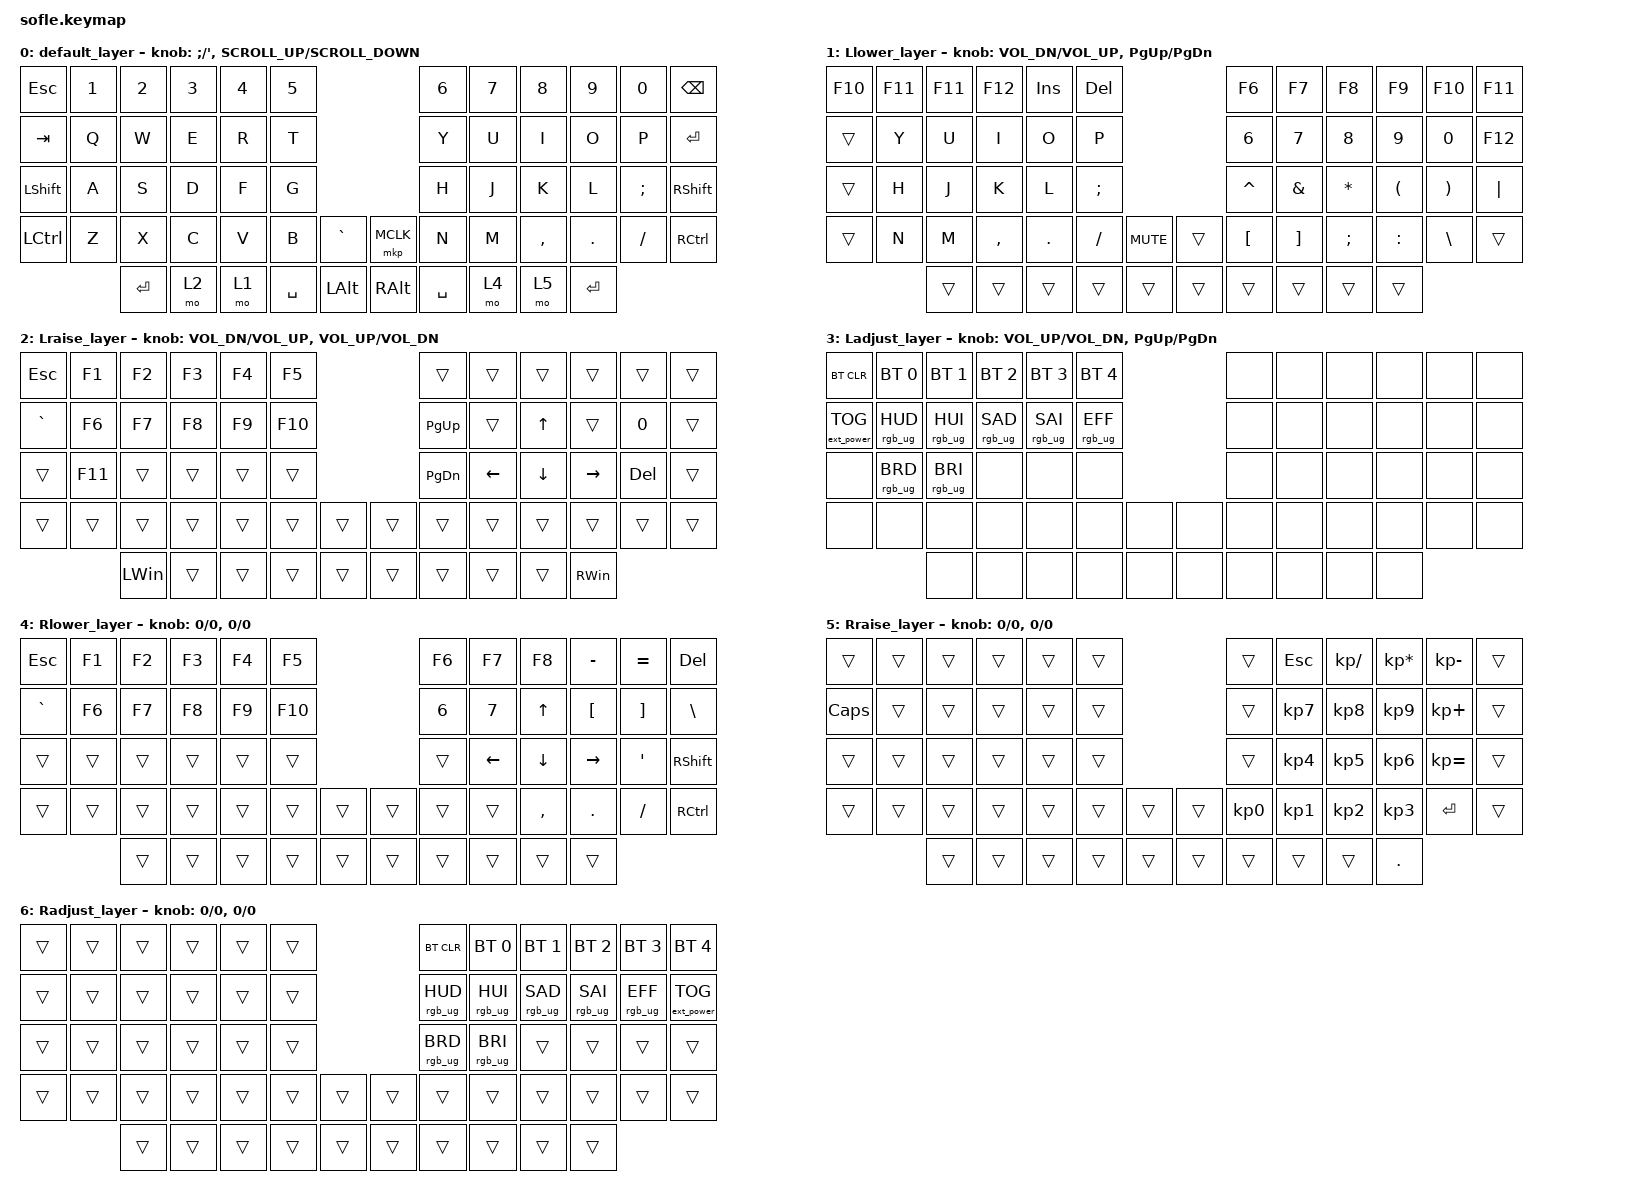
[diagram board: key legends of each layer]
/*
 * Copyright (c) 2020 The ZMK Contributors
 *
 * SPDX-License-Identifier: MIT
 */

#include <dt-bindings/zmk/mouse.h>
#include <behaviors.dtsi>
#include <dt-bindings/zmk/bt.h>
#include <dt-bindings/zmk/ext_power.h>
#include <dt-bindings/zmk/keys.h>
#include <dt-bindings/zmk/pointing.h>
#include <dt-bindings/zmk/rgb.h>

#define BASE 0
#define LLOWER 1
#define LRAISE 2
#define LADJUST 3

/ {
    // Activate ADJUST layer by pressing raise and lower

    conditional_layers {
        compatible = "zmk,conditional-layers";

        ladjust_layer {
            if-layers = <1 2>;
            then-layer = <3>;
        };

        Radjust {
            if-layers = <4 5>;
            then-layer = <6>;
        };
    };

    keymap {
        compatible = "zmk,keymap";

        default_layer {
            // ------------------------------------------------------------------------------------------------------------
            // |  ESC  |  1  |  2  |  3   |  4   |  5   |                   |  6   |  7    |  8    |  9   |   0   |       |
            // |  ESC  |  Q  |  W  |  E   |  R   |  T   |                   |  Y   |  U    |  I    |  O   |   P   | BKSPC |
            // |  TAB  |  A  |  S  |  D   |  F   |  G   |                   |  H   |  J    |  K    |  L   |   ;   |   '   |
            // | SHIFT |  Z  |  X  |  C   |  V   |  B   |  MUTE  |  |       |  N   |  M    |  ,    |  .   |   /   | SHIFT |
            //               | GUI | ALT  | CTRL | LOWER|  ENTER |  | SPACE | RAISE| CTRL  | ALT   | GUI  |

            bindings = <
&kp ESC         &kp N1  &kp N2     &kp N3  &kp N4  &kp N5                             &kp N6     &kp N7  &kp N8     &kp N9     &kp N0    &kp BACKSPACE
&kp TAB         &kp Q   &kp W      &kp E   &kp R   &kp T                              &kp Y      &kp U   &kp I      &kp O      &kp P     &kp ENTER
&kp LEFT_SHIFT  &kp A   &kp S      &kp D   &kp F   &kp G                              &kp H      &kp J   &kp K      &kp L      &kp SEMI  &kp RSHFT
&kp LCTRL       &kp Z   &kp X      &kp C   &kp V   &kp B      &kp GRAVE    &mkp MCLK  &kp N      &kp M   &kp COMMA  &kp DOT    &kp FSLH  &kp RCTRL
                        &kp ENTER  &mo 2   &mo 1   &kp SPACE  &kp LALT     &kp RALT   &kp SPACE  &mo 4   &mo 5      &kp ENTER
            >;

            sensor-bindings =
                <&inc_dec_kp SEMICOLON SQT>,
                <&inc_dec_kp K_SCROLL_UP K_SCROLL_DOWN>;
        };

        Llower_layer {
            // TODO: Some binds are waiting for shifted keycode support.
            // ------------------------------------------------------------------------------------------------------------
            // |       |  F1 |  F2 |  F3  |  F4  |  F5  |                   |  F6  |  F7   |  F8   |  F9  |  F10  |  F11  |
            // |   `   |  1  |  2  |  3   |  4   |  5   |                   |  6   |  7    |  8    |  9   |   0   |  F12  |
            // |       |  !  |  @  |  #   |  $   |  %   |                   |  ^   |  &    |  *    |  (   |   )   |   |   |
            // |       |  =  |  -  |  +   |  {   |  }   |        |  |       |  [   |  ]    |  ;    |  :   |   \   |       |
            //               |     |      |      |      |        |  |       |      |       |       |      |

            bindings = <
&kp F10  &kp F11  &kp F11  &kp F12    &kp INS     &kp DEL                              &kp F6     &kp F7    &kp F8     &kp F9     &kp F10   &kp F11
&trans   &kp Y    &kp U    &kp I      &kp O       &kp P                                &kp N6     &kp N7    &kp N8     &kp N9     &kp N0    &kp F12
&trans   &kp H    &kp J    &kp K      &kp L       &kp SEMICOLON                        &kp CARET  &kp AMPS  &kp ASTRK  &kp LPAR   &kp RPAR  &kp PIPE
&trans   &kp N    &kp M    &kp COMMA  &kp PERIOD  &kp SLASH      &kp K_MUTE    &trans  &kp LBKT   &kp RBKT  &kp SEMI   &kp COLON  &kp BSLH  &trans
                  &trans   &trans     &trans      &trans         &trans        &trans  &trans     &trans    &trans     &trans
            >;

            sensor-bindings =
                <&inc_dec_kp C_VOL_DN C_VOL_UP>,
                <&inc_dec_kp PG_UP PG_DN>;
        };

        Lraise_layer {
            // ------------------------------------------------------------------------------------------------------------
            // | BTCLR | BT1  | BT2  |  BT3  |  BT4  |  BT5 |                |      |      |       |      |       |       |
            // |       | INS  | PSCR | GUI   |       |      |                | PGUP |      |   ^   |      |       |       |
            // |       | ALT  | CTRL | SHIFT |       | CAPS |                | PGDN |   <- |   v   |  ->  |  DEL  | BKSPC |
            // |       | UNDO | CUT  | COPY  | PASTE |      |      |  |      |      |      |       |      |       |       |
            //                |      |       |       |      |      |  |      |      |      |       |      |

            bindings = <
&kp ESC    &kp F1  &kp F2    &kp F3  &kp F4  &kp F5                     &trans     &trans    &trans    &trans     &trans   &trans
&kp GRAVE  &kp F6  &kp F7    &kp F8  &kp F9  &kp F10                    &kp PG_UP  &trans    &kp UP    &trans     &kp N0   &trans
&trans     &kp F11  &trans    &trans  &trans  &trans                     &kp PG_DN  &kp LEFT  &kp DOWN  &kp RIGHT  &kp DEL  &trans
&trans     &trans  &trans    &trans  &trans  &trans   &trans    &trans  &trans     &trans    &trans    &trans     &trans   &trans
                   &kp LWIN  &trans  &trans  &trans   &trans    &trans  &trans     &trans    &trans    &kp RWIN
            >;

            sensor-bindings =
                <&inc_dec_kp C_VOL_DN C_VOL_UP>,
                <&inc_dec_kp C_VOL_UP C_VOL_DN>;
        };

        Ladjust_layer {
            // ----------------------------------------------------------------------------------------------------------------------------
            // | BTCLR  |  BT1    |  BT2    |   BT3   |   BT4   |   BT5   |                  |      |      |       |      |       |       |
            // | EXTPWR | RGB_HUD | RGB_HUI | RGB_SAD | RGB_SAI | RGB_EFF |                  |      |      |       |      |       |       |
            // |        | RGB_BRD | RGB_BRI |         |         |         |                  |      |      |       |      |       |       |
            // |        |         |         |         |         |         | RGB_TOG | |      |      |      |       |      |       |       |
            //                    |         |         |         |         |         | |      |      |      |       |      |

            bindings = <
&bt BT_CLR         &bt BT_SEL 0     &bt BT_SEL 1     &bt BT_SEL 2     &bt BT_SEL 3     &bt BT_SEL 4                     &none  &none  &none  &none  &none  &none
&ext_power EP_TOG  &rgb_ug RGB_HUD  &rgb_ug RGB_HUI  &rgb_ug RGB_SAD  &rgb_ug RGB_SAI  &rgb_ug RGB_EFF                  &none  &none  &none  &none  &none  &none
&none              &rgb_ug RGB_BRD  &rgb_ug RGB_BRI  &none            &none            &none                            &none  &none  &none  &none  &none  &none
&none              &none            &none            &none            &none            &none            &none    &none  &none  &none  &none  &none  &none  &none
                                    &none            &none            &none            &none            &none    &none  &none  &none  &none  &none
            >;

            sensor-bindings = <&inc_dec_kp C_VOL_UP C_VOL_DN &inc_dec_kp PG_UP PG_DN>;
        };

        Rlower_layer {
            bindings = <
&kp ESC    &kp F1  &kp F2  &kp F3  &kp F4  &kp F5                     &kp F6  &kp F7    &kp F8     &kp MINUS  &kp EQUAL  &kp DEL
&kp GRAVE  &kp F6  &kp F7  &kp F8  &kp F9  &kp F10                    &kp N6  &kp N7    &kp UP     &kp LBKT   &kp RBKT   &kp BSLH
&trans     &trans  &trans  &trans  &trans  &trans                     &trans  &kp LEFT  &kp DOWN   &kp RIGHT  &kp SQT    &kp RSHFT
&trans     &trans  &trans  &trans  &trans  &trans   &trans    &trans  &trans  &trans    &kp COMMA  &kp DOT    &kp FSLH   &kp RCTRL
                   &trans  &trans  &trans  &trans   &trans    &trans  &trans  &trans    &trans     &trans
            >;

            sensor-bindings = <&inc_dec_kp 0 0>, <&inc_dec_kp 0 0>;
        };

        Rraise_layer {
            bindings = <
&trans    &trans  &trans  &trans  &trans  &trans                    &trans           &kp ESC          &kp KP_DIVIDE    &kp KP_MULTIPLY  &kp KP_MINUS  &trans
&kp CAPS  &trans  &trans  &trans  &trans  &trans                    &trans           &kp KP_NUMBER_7  &kp KP_NUMBER_8  &kp KP_NUMBER_9  &kp KP_PLUS   &trans
&trans    &trans  &trans  &trans  &trans  &trans                    &trans           &kp KP_NUMBER_4  &kp KP_NUMBER_5  &kp KP_NUMBER_6  &kp KP_EQUAL  &trans
&trans    &trans  &trans  &trans  &trans  &trans  &trans    &trans  &kp KP_NUMBER_0  &kp KP_NUMBER_1  &kp KP_NUMBER_2  &kp KP_NUMBER_3  &kp RET       &trans
                  &trans  &trans  &trans  &trans  &trans    &trans  &trans           &trans           &trans           &kp DOT
            >;

            sensor-bindings = <&inc_dec_kp 0 0>, <&inc_dec_kp 0 0>;
        };

        Radjust_layer {
            bindings = <
&trans  &trans  &trans  &trans  &trans  &trans                    &bt BT_CLR       &bt BT_SEL 0     &bt BT_SEL 1     &bt BT_SEL 2     &bt BT_SEL 3     &bt BT_SEL 4
&trans  &trans  &trans  &trans  &trans  &trans                    &rgb_ug RGB_HUD  &rgb_ug RGB_HUI  &rgb_ug RGB_SAD  &rgb_ug RGB_SAI  &rgb_ug RGB_EFF  &ext_power EP_TOG
&trans  &trans  &trans  &trans  &trans  &trans                    &rgb_ug RGB_BRD  &rgb_ug RGB_BRI  &trans           &trans           &trans           &trans
&trans  &trans  &trans  &trans  &trans  &trans  &trans    &trans  &trans           &trans           &trans           &trans           &trans           &trans
                &trans  &trans  &trans  &trans  &trans    &trans  &trans           &trans           &trans           &trans
            >;

            sensor-bindings = <&inc_dec_kp 0 0>, <&inc_dec_kp 0 0>;
        };
    };
};
